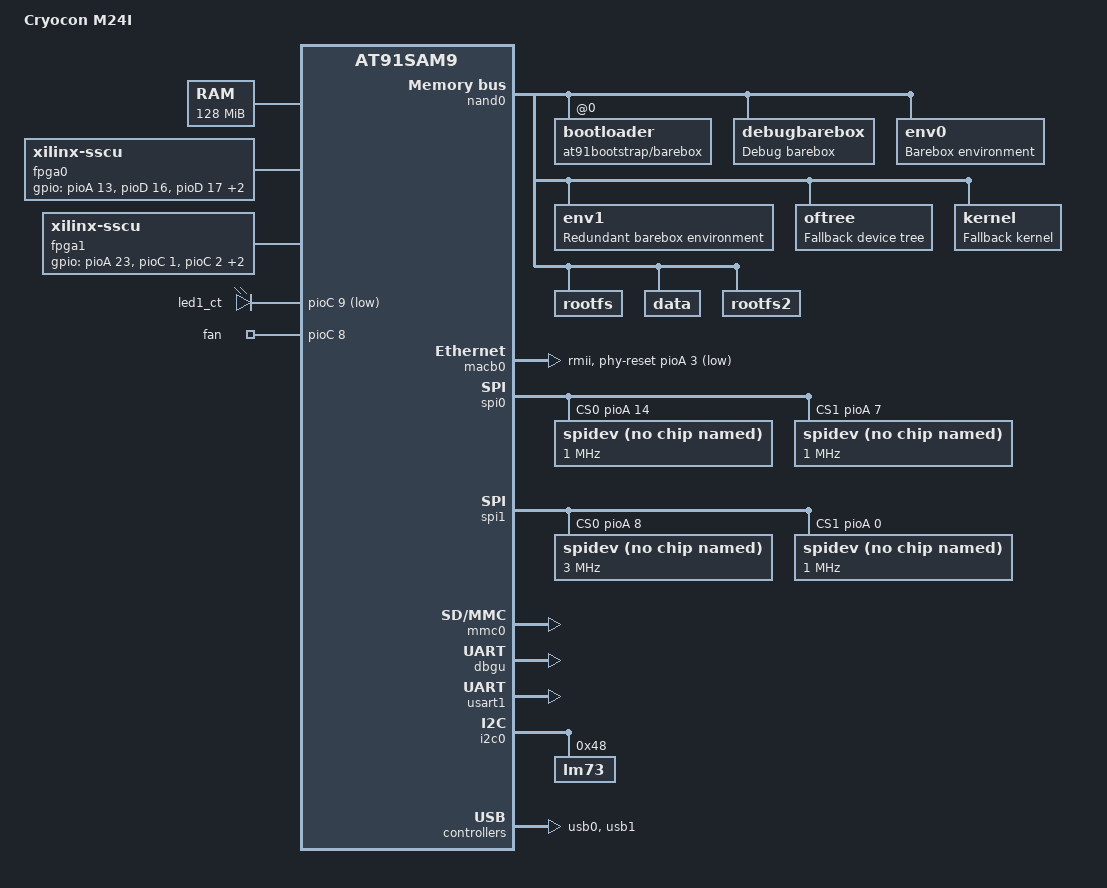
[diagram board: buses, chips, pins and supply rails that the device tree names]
/*
 * at91sam9g35ek.dts - Device Tree file for AT91SAM9G35-EK board
 *
 *  Copyright (C) 2012 Atmel,
 *                2012 Nicolas Ferre <nicolas.ferre@atmel.com>
 *
 * Licensed under GPLv2 or later.
 */
/dts-v1/;
#include "at91sam9g35.dtsi"

/ {
	model = "Cryocon M24I";
	compatible = "atmel,at91sam9g35ek", "atmel,at91sam9x5ek", "atmel,at91sam9x5", "atmel,at91sam9";

    memory {
        reg = <0x20000000 0x8000000>;
    };

    clocks {
        #address-cells = <1>;
        #size-cells = <1>;
        ranges;

        main_clock: clock@0 {
            compatible = "atmel,osc", "fixed-clock";
            clock-frequency = <12000000>;
        };
    };

	slow_xtal {
		clock-frequency = <32768>;
	};

	main_xtal {
		clock-frequency = <12000000>;
	};


	chosen {
		bootargs = "console=ttyS0,115200 root=/dev/mtdblock1 rw rootfstype=ubifs ubi.mtd=1 root=ubi0:rootfs";
	};

    aliases {
        spi0 = &spi0;
        spi1 = &spi1;
        fpga0 = &fpga0;
        fpga1 = &fpga1;
    };

	ahb {
		nand0: nand@40000000 {
			nand-bus-width = <8>;
			nand-ecc-mode = "hw";
			atmel,has-pmecc;	/* Enable PMECC */
			atmel,pmecc-cap = <2>;
			atmel,pmecc-sector-size = <512>;
			nand-on-flash-bbt;
			status = "okay";
            pinctrl-0 = <&pinctrl_nand &pinctrl_nand0_m18>;

			bootloader@0 {
				label = "at91bootstrap/barebox";
				reg = <0x0 0x20000>;
			};

			debugbarebox@40000 {
				label = "Debug barebox";
				reg = <0x40000 0x40000>;
			};

			env0@80000 {
				label = "Barebox environment";
				reg = <0x80000 0x40000>;
			};
			
			env1@c0000 {
				label = "Redundant barebox environment";
				reg = <0xc0000 0x40000>;
			};			
			
			oftree@180000 {
				label = "Fallback device tree";
				reg = <0x180000 0x80000>;
			};

			kernel@200000 {
				label = "Fallback kernel";
				reg = <0x200000 0x600000>;
			};

			rootfs@800000 {
				label = "rootfs";
				reg = <0x0800000 0x6000000>;
			};
			
			data@6800000 {
				label = "data";
				reg = <0x6800000 0x3800000>;
			};
			
			rootfs2@a000000 {
				label = "rootfs2";
				reg = <0xa000000 0x6000000>;
			};
		};
		apb {
			rtc@fffffeb0 {
				status = "okay";
			};
			
			hlcdc: hlcdc@f8038000 {
				status = "disabled";
			};

			macb0: ethernet@f802c000 {
				phy-mode = "rmii";
				status = "okay";
				phy-reset-gpios = <&pioA 3 0>; /* PA3 GPIO phy reset */

                pinctrl-0 = <&pinctrl_macb0_rmii>;
			};

			adc0: adc@f804c000 {
				status = "disabled";
			};

			spi0: spi@f0000000 {
				status = "okay";
				cs-gpios = <&pioA 14 0>, <&pioA 7 0>, <0>, <0>;
				rt;
                spidev@0 {
                    compatible = "spidev";
                    spi-max-frequency = <1000000>;
                    reg = <0>;
                };
                spidev@1 {
                    compatible = "spidev";
                    spi-max-frequency = <1000000>;
                    reg = <1>;
                };
			};

			spi1: spi@f0004000 {
			    status = "okay";
                cs-gpios = <&pioA 8 0>, <&pioA 0 0>, <&pioD 21 0>, <0>;
				rt;
                spidev@0 {
                    compatible = "spidev";
                    spi-max-frequency = <3000000>;
                    reg = <0>;
                };
                spidev@1 {
                    compatible = "spidev";
                    spi-max-frequency = <1000000>;
                    reg = <1>;
                };
                spidev@2 {
                	status = "disabled";
                    compatible = "spidev";
                    spi-max-frequency = <1000000>;
                    reg = <2>;
                };
            };	
            
			mmc0: mmc@f0008000 {
				pinctrl-0 = <
					&pinctrl_mmc0_slot0_clk_cmd_dat0
					&pinctrl_mmc0_slot0_dat1_3>;
				status = "okay";
				slot@0 {
					reg = <0>;
					bus-width = <4>;
					cd-gpios = <0>;
				};
			};
			
			mmc1: mmc@f000c000 {
				status = "disabled";
			};
			
			dbgu: serial@fffff200 {
				status = "okay";
			};

			usart1: serial@f8020000 {
				status = "okay";
			};
			
			i2c0: i2c@f8010000 {
				status = "okay";
				lm73@48 {
					compatible = "lm73";
					reg = <0x48>;
				};
			};
			
			pinctrl@fffff400 {
				fpga0 {
				    pinctrl_board_fpga0: fpga0-board {
				        atmel,pins =
				            <AT91_PIOA 13 AT91_PERIPH_GPIO AT91_PINCTRL_NONE 
				             AT91_PIOD 16 AT91_PERIPH_GPIO AT91_PINCTRL_NONE 
				             AT91_PIOD 17 AT91_PERIPH_GPIO AT91_PINCTRL_NONE 
				             AT91_PIOD 15 AT91_PERIPH_GPIO AT91_PINCTRL_NONE 
				             AT91_PIOA 12 AT91_PERIPH_GPIO AT91_PINCTRL_NONE>;
				     };
				};
				fpga1 {
				    pinctrl_board_fpga1: fpga1-board {
				        atmel,pins =
				            <AT91_PIOA 23 AT91_PERIPH_GPIO AT91_PINCTRL_NONE 
				             AT91_PIOC  1 AT91_PERIPH_GPIO AT91_PINCTRL_NONE 
				             AT91_PIOC  2 AT91_PERIPH_GPIO AT91_PINCTRL_NONE 
				             AT91_PIOC  0 AT91_PERIPH_GPIO AT91_PINCTRL_NONE 
				             AT91_PIOA 22 AT91_PERIPH_GPIO AT91_PINCTRL_NONE>;
				     };
				};
				nand0 {
					pinctrl_nand0_m18: nand0_m18 {
						atmel,pins =
							<3 14 0x0 0x1>;	/* PD14 WP# pull up */
					};
				};
				
			};

			
			fpga0: xilinx-sscu@0 {
			    compatible = "xilinx-sscu";
                status = "okay";
                pinctrl-names = "default";
                pinctrl-0 = <&pinctrl_board_fpga0>;
                gpios = <&pioA 13 0
                        &pioD 16 0
                        &pioD 17 0
                        &pioD 15 0
                        &pioA 12 0>;
            };

            fpga1: xilinx-sscu@1 {
			    compatible = "xilinx-sscu";
                status = "okay";
                pinctrl-names = "default";
                pinctrl-0 = <&pinctrl_board_fpga1>;
                gpios = <&pioA 23 0
                        &pioC 1 0
                        &pioC 2 0
                        &pioC 0 0
                        &pioA 22 0>;
            };

			watchdog@fffffe40 {
				status = "okay";
			};

			ssc0: ssc@f0010000 {
				status = "disabled";
			};
		};

		usb0: ohci@00600000 {
			status = "okay";
			num-ports = <3>;
			atmel,vbus-gpio = <0 /* &pioD 18 GPIO_ACTIVE_LOW *//* Activate to have access to port A */
					   &pioD 19 GPIO_ACTIVE_HIGH
					   &pioD 20 GPIO_ACTIVE_HIGH
					  >;
		};

		usb1: ehci@00700000 {
			status = "okay";
		};
	};
	
	leds {
		compatible = "gpio-leds";

		heartbeat {
			label = "led1_ct";
			gpios = <&pioC 9 1>;
			linux,default-trigger = "heartbeat";
		};
		
		fan {
			label = "fan";
			gpios = <&pioC 8 0>;
			linux,default-trigger = "default-on";
		};
	};
	
	bl_reg: backlight_regulator {
		status = "disabled";
	};

	panel_reg: panel_regulator {
		status = "disabled";
	};

	backlight: backlight {
		status = "disabled";
	};

	panel: panel {
		status = "disabled";
	};
};
